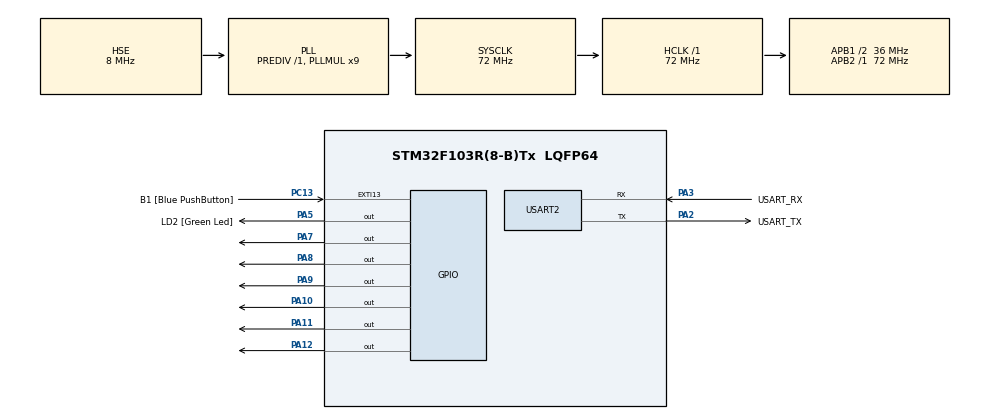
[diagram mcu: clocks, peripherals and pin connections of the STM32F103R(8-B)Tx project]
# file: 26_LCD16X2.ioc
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Mcu.Family=STM32F1
Mcu.Name=STM32F103R(8-B)Tx
Mcu.Package=LQFP64
NVIC.EXTI15_10_IRQn=true\:0\:0\:false\:false\:true\:true\:true\:true
NVIC.PriorityGroup=NVIC_PRIORITYGROUP_4
PA10.Signal=GPIO_Output
PA11.Signal=GPIO_Output
PA12.Signal=GPIO_Output
PA13.GPIO_Label=TMS
PA13.Mode=Serial_Wire
PA13.Signal=SYS_JTMS-SWDIO
PA14.GPIO_Label=TCK
PA14.Mode=Serial_Wire
PA14.Signal=SYS_JTCK-SWCLK
PA2.GPIO_Label=USART_TX
PA2.GPIO_Mode=GPIO_MODE_AF_PP
PA2.GPIO_PuPd=GPIO_NOPULL
PA2.GPIO_Speed=GPIO_SPEED_FREQ_LOW
PA2.Mode=Asynchronous
PA2.Signal=USART2_TX
PA3.GPIO_Label=USART_RX
PA3.GPIO_Mode=GPIO_MODE_AF_PP
PA3.GPIO_PuPd=GPIO_NOPULL
PA3.GPIO_Speed=GPIO_SPEED_FREQ_LOW
PA3.Mode=Asynchronous
PA3.Signal=USART2_RX
PA5.GPIO_Label=LD2 [Green Led]
PA5.GPIO_ModeDefaultOutputPP=GPIO_MODE_OUTPUT_PP
PA5.GPIO_PuPd=GPIO_NOPULL
PA5.GPIO_Speed=GPIO_SPEED_FREQ_LOW
PA5.Signal=GPIO_Output
PA7.Signal=GPIO_Output
PA8.Signal=GPIO_Output
PA9.Signal=GPIO_Output
PB3.GPIO_Label=SWO
PB3.Signal=SYS_JTDO-TRACESWO
PC13-TAMPER-RTC.GPIO_Label=B1 [Blue PushButton]
PC13-TAMPER-RTC.GPIO_PuPd=GPIO_NOPULL
PC13-TAMPER-RTC.Signal=GPXTI13
PC14-OSC32_IN.Mode=LSE-External-Oscillator
PC14-OSC32_IN.Signal=RCC_OSC32_IN
PC15-OSC32_OUT.Mode=LSE-External-Oscillator
PC15-OSC32_OUT.Signal=RCC_OSC32_OUT
PD0-OSC_IN.Mode=HSE-External-Oscillator
PD0-OSC_IN.Signal=RCC_OSC_IN
PD1-OSC_OUT.Mode=HSE-External-Oscillator
PD1-OSC_OUT.Signal=RCC_OSC_OUT
ProjectManager.HeapSize=0x200
ProjectManager.StackSize=0x400
ProjectManager.TargetToolchain=STM32CubeIDE
RCC.AHBFreq_Value=72000000
RCC.APB1CLKDivider=RCC_HCLK_DIV2
RCC.APB1Freq_Value=36000000
RCC.APB1TimFreq_Value=72000000
RCC.APB2Freq_Value=72000000
RCC.APB2TimFreq_Value=72000000
RCC.HCLKFreq_Value=72000000
RCC.PLLMUL=RCC_PLL_MUL9
RCC.PLLSourceVirtual=RCC_PLLSOURCE_HSE
RCC.RTCClockSelection=RCC_RTCCLKSOURCE_LSE
RCC.SYSCLKFreq_VALUE=72000000
RCC.SYSCLKSource=RCC_SYSCLKSOURCE_PLLCLK
RCC.USBFreq_Value=72000000
USART2.VirtualMode=VM_ASYNC
board=NUCLEO-F103RB

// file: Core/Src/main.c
/* USER CODE BEGIN Header */
/**
  ******************************************************************************
  * @file           : main.c
  * @brief          : Main program body
  ******************************************************************************
  * @attention
  *
  * Copyright (c) 2025 STMicroelectronics.
  * All rights reserved.
  *
  * This software is licensed under terms that can be found in the LICENSE file
  * in the root directory of this software component.
  * If no LICENSE file comes with this software, it is provided AS-IS.
  *
  ******************************************************************************
  */
/* USER CODE END Header */
#include "main.h"

/* USER CODE BEGIN Includes */

#include "../../LCD16X2/LCD16X2.h"

/* USER CODE END Includes */

/* USER CODE BEGIN PD */

#define MyLCD LCD16X2_1

/* USER CODE END PD */

UART_HandleTypeDef huart2;

void SystemClock_Config(void);
static void MX_GPIO_Init(void);
static void MX_USART2_UART_Init(void);

int main(void)
{

  /* MCU Configuration--------------------------------------------------------*/

  /* Reset of all peripherals, Initializes the Flash interface and the Systick. */
  HAL_Init();

  /* Configure the system clock */
  SystemClock_Config();

  /* Initialize all configured peripherals */
  MX_GPIO_Init();
  MX_USART2_UART_Init();
  /* USER CODE BEGIN 2 */

  LCD16X2_Init(MyLCD);
  LCD16X2_Clear(MyLCD);
  LCD16X2_Set_Cursor(MyLCD, 1, 1);
  LCD16X2_Write_String(MyLCD, "Hello");
  LCD16X2_Set_Cursor(MyLCD, 2, 1);
  LCD16X2_Write_String(MyLCD, "World!");

  /* USER CODE END 2 */

  /* Infinite loop */
  /* USER CODE BEGIN WHILE */
  while (1)
  {
	  LCD16X2_SR(MyLCD);	HAL_Delay(1500);
	  LCD16X2_SR(MyLCD);	HAL_Delay(1500);
	  LCD16X2_SR(MyLCD);	HAL_Delay(1500);
	  LCD16X2_SR(MyLCD);	HAL_Delay(1500);

	  LCD16X2_SL(MyLCD);	HAL_Delay(1500);
	  LCD16X2_SL(MyLCD);	HAL_Delay(1500);
	  LCD16X2_SL(MyLCD);	HAL_Delay(1500);
	  LCD16X2_SL(MyLCD);	HAL_Delay(1500);

    /* USER CODE END WHILE */

  }
}

void SystemClock_Config(void)
{
  RCC_OscInitTypeDef RCC_OscInitStruct = {0};
  RCC_ClkInitTypeDef RCC_ClkInitStruct = {0};

  /** Initializes the RCC Oscillators according to the specified parameters
  * in the RCC_OscInitTypeDef structure.
  */
  RCC_OscInitStruct.OscillatorType = RCC_OSCILLATORTYPE_HSE;
  RCC_OscInitStruct.HSEState = RCC_HSE_ON;
  RCC_OscInitStruct.HSEPredivValue = RCC_HSE_PREDIV_DIV1;
  RCC_OscInitStruct.HSIState = RCC_HSI_ON;
  RCC_OscInitStruct.PLL.PLLState = RCC_PLL_ON;
  RCC_OscInitStruct.PLL.PLLSource = RCC_PLLSOURCE_HSE;
  RCC_OscInitStruct.PLL.PLLMUL = RCC_PLL_MUL9;
  if (HAL_RCC_OscConfig(&RCC_OscInitStruct) != HAL_OK)
  {
    Error_Handler();
  }

  /** Initializes the CPU, AHB and APB buses clocks
  */
  RCC_ClkInitStruct.ClockType = RCC_CLOCKTYPE_HCLK|RCC_CLOCKTYPE_SYSCLK
                              |RCC_CLOCKTYPE_PCLK1|RCC_CLOCKTYPE_PCLK2;
  RCC_ClkInitStruct.SYSCLKSource = RCC_SYSCLKSOURCE_PLLCLK;
  RCC_ClkInitStruct.AHBCLKDivider = RCC_SYSCLK_DIV1;
  RCC_ClkInitStruct.APB1CLKDivider = RCC_HCLK_DIV2;
  RCC_ClkInitStruct.APB2CLKDivider = RCC_HCLK_DIV1;

  if (HAL_RCC_ClockConfig(&RCC_ClkInitStruct, FLASH_LATENCY_2) != HAL_OK)
  {
    Error_Handler();
  }
}

static void MX_USART2_UART_Init(void)
{

  huart2.Instance = USART2;
  huart2.Init.BaudRate = 115200;
  huart2.Init.WordLength = UART_WORDLENGTH_8B;
  huart2.Init.StopBits = UART_STOPBITS_1;
  huart2.Init.Parity = UART_PARITY_NONE;
  huart2.Init.Mode = UART_MODE_TX_RX;
  huart2.Init.HwFlowCtl = UART_HWCONTROL_NONE;
  huart2.Init.OverSampling = UART_OVERSAMPLING_16;
  if (HAL_UART_Init(&huart2) != HAL_OK)
  {
    Error_Handler();
  }

}

static void MX_GPIO_Init(void)
{
  GPIO_InitTypeDef GPIO_InitStruct = {0};

  /* GPIO Ports Clock Enable */
  __HAL_RCC_GPIOC_CLK_ENABLE();
  __HAL_RCC_GPIOD_CLK_ENABLE();
  __HAL_RCC_GPIOA_CLK_ENABLE();
  __HAL_RCC_GPIOB_CLK_ENABLE();

  /*Configure GPIO pin Output Level */
  HAL_GPIO_WritePin(GPIOA, LD2_Pin|GPIO_PIN_7|GPIO_PIN_8|GPIO_PIN_9
                          |GPIO_PIN_10|GPIO_PIN_11|GPIO_PIN_12, GPIO_PIN_RESET);

  /*Configure GPIO pin : B1_Pin */
  GPIO_InitStruct.Pin = B1_Pin;
  GPIO_InitStruct.Mode = GPIO_MODE_IT_RISING;
  GPIO_InitStruct.Pull = GPIO_NOPULL;
  HAL_GPIO_Init(B1_GPIO_Port, &GPIO_InitStruct);

  /*Configure GPIO pins : LD2_Pin PA7 PA8 PA9
                           PA10 PA11 PA12 */
  GPIO_InitStruct.Pin = LD2_Pin|GPIO_PIN_7|GPIO_PIN_8|GPIO_PIN_9
                          |GPIO_PIN_10|GPIO_PIN_11|GPIO_PIN_12;
  GPIO_InitStruct.Mode = GPIO_MODE_OUTPUT_PP;
  GPIO_InitStruct.Pull = GPIO_NOPULL;
  GPIO_InitStruct.Speed = GPIO_SPEED_FREQ_LOW;
  HAL_GPIO_Init(GPIOA, &GPIO_InitStruct);

  /* EXTI interrupt init*/
  HAL_NVIC_SetPriority(EXTI15_10_IRQn, 0, 0);
  HAL_NVIC_EnableIRQ(EXTI15_10_IRQn);

}

void Error_Handler(void)
{
  __disable_irq();
  while (1)
  {
  }
}
